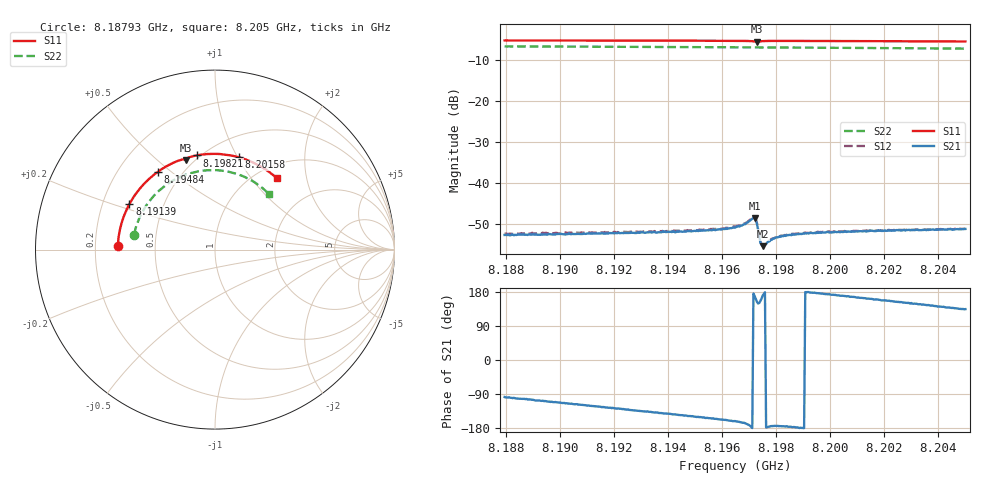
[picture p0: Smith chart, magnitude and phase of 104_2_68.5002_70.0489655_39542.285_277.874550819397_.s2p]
#  HZ  S  RI  R  50.00
! Rohde & Schwarz Vector Network Analyzer
! Rohde-Schwarz,ZNB20-2Port,1311601062101988,3.16
! Created: UTC 3/20/2024, 5:08:19 PM
! freq[Hz]  re:S11  im:S11  re:S21  im:S21  re:S12  im:S12  re:S22  im:S22
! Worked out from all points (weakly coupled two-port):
!   401 points, 8.18793 GHz to 8.205 GHz, reference 50 ohm
!   highest |S21| = -48.45 dB at 8.19719 GHz (marker M1); lowest = -55.3 dB at 8.19749 GHz (marker M2)
!   lowest |S11| = -5.6 dB at 8.19727 GHz (marker M3), VSWR 3.20, Z = 22.7 + j31.1 ohm
!   |S11| at or under -10 dB: nowhere
!   |S22| runs from -7.3 to -6.8 dB; largest |S21 - S12| = 0.0002
!   S11 on the Smith chart (normalised r, x): 8.18793 GHz: 0.30, +0.02; 8.19139 GHz: 0.32, +0.23; 8.19484 GHz: 0.37, +0.45; 8.19821 GHz: 0.48, +0.70; 8.20158 GHz: 0.71, +1.01; 8.205 GHz: 1.23, +1.35
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8.187931e9  -0.5412 0.0223  -0.000315 -0.00233  -0.000382 -0.00242  -0.4512 0.0831
8.190789e9  -0.4953 0.2161  -0.00114 -0.00213  -0.00128 -0.00218  -0.3932 0.2303
8.191387e9  -0.477 0.2537  -0.00133 -0.00205  -0.00146 -0.00209  -0.3746 0.2578
8.193648e9  -0.3817 0.3802  -0.00194 -0.00163  -0.00204 -0.00165  -0.2877 0.3486
8.194843e9  -0.3174 0.4343  -0.00221 -0.00136  -0.00233 -0.00132  -0.2321 0.3857
8.195995e9  -0.2476 0.4763  -0.00255 -0.00107  -0.00262 -0.00101  -0.1737 0.4134
8.196464e9  -0.2166 0.4905  -0.00273 -0.000934  -0.00286 -0.000822  -0.1487 0.4222
8.196848e9  -0.1897 0.5  -0.0031 -0.000705  -0.00322 -0.000599  -0.1279 0.4283
8.197104e9  -0.1692 0.5025  -0.0037 -2.95e-05  -0.0038 0.000142  -0.1138 0.4318
8.197189e9  -0.1635 0.4999  -0.00371 0.000721  -0.00378 0.000889  -0.109 0.4325
8.197232e9  -0.1622 0.4983  -0.00343 0.00116  -0.00347 0.00131  -0.1068 0.433
8.197275e9  -0.1625 0.4976  -0.00292 0.00143  -0.00291 0.00157  -0.1047 0.4334
8.197403e9  -0.1611 0.5039  -0.00173 0.000783  -0.00177 0.000865  -0.0977 0.4351
8.197445e9  -0.1586 0.5065  -0.00169 0.000554  -0.00171 0.000618  -0.0952 0.4355
8.197488e9  -0.1559 0.5087  -0.00169 0.000308  -0.00173 0.000398  -0.0929 0.436
8.197573e9  -0.1495 0.5121  -0.00179 3.9e-05  -0.00182 0.000133  -0.0883 0.437
8.197915e9  -0.1245 0.5201  -0.00212 -0.00022  -0.00214 -0.000137  -0.0691 0.4398
8.198213e9  -0.1031 0.5248  -0.00228 -0.000215  -0.00229 -8.69e-05  -0.0523 0.4414
8.199323e9  -0.0244 0.5332  -0.00248 9.1e-05  -0.0025 0.000203  0.0107 0.4425
8.201584e9  0.1338 0.5141  -0.00247 0.000885  -0.00248 0.00101  0.1366 0.4165
8.202182e9  0.1741 0.501  -0.00243 0.00107  -0.00243 0.00121  0.1683 0.4034
8.204998e9  0.3438 0.3984  -0.00194 0.002  -0.00188 0.0021  0.3005 0.3093
